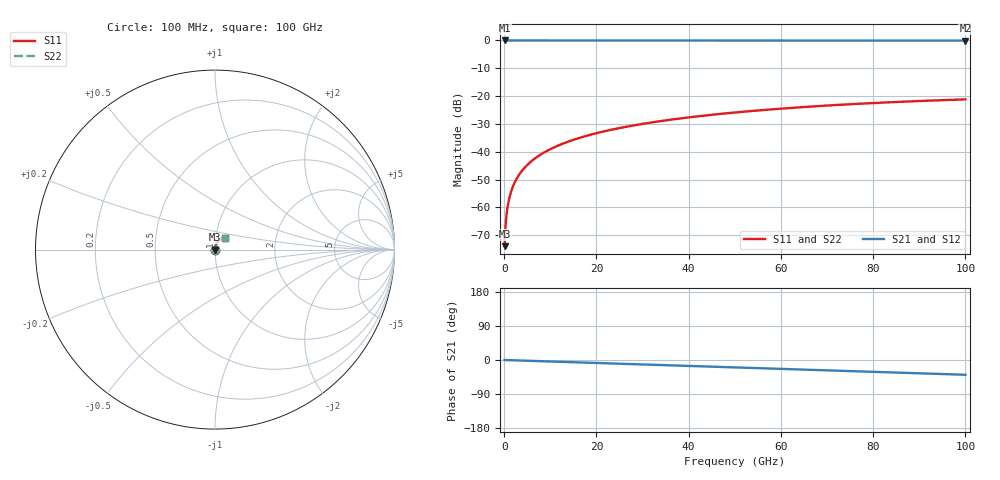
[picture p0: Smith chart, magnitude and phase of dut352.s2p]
! Touchstone file exported from HFSS 2026.1.0
!  File:  C:/ffzhzh/LocalFiles/Ansys_Project_Files/temp_train_TSV_352_1783510028_44152.aedt
!  Generated:  07:28:19 PM Jul  8, 2026
!  Design:  TSV
!  Project:  temp_train_TSV_352_1783510028_44152
! Variables:
!  h_bsmrdl = 2um
!  h_ox = 20um
!  h_rdl = 5um
!  h_sub = 76.03um
!  h_tmrdl = 5um
!  h_tsv = 76.03um
!  h_via = 3um
!  l_bsmrdl = 300um
!  l_sub = 418.7um
!  l_tmrdl = 200um
!  m_sub = 200um
!  pitch = 45.42um
!  r_tsv = 9.35um
!  s_tmrdl = 10um
!  w_bsmrdl = 18um
!  w_sub = 500um
!  w_tmrdl = 12um
!  x_tsv_center1 = 206um
!  x_tsv_center2 = 524um
!  x_tsv_center3 = 736um
!  x_tsv_center4 = 1054um
!  x_tsv_center5 = 1266um
!  x_tsv_center6 = 1584um
# GHz S MA R 50.000000
! Terminal data exported
! Port[1] = TSV1_1_T1
! Port[2] = TSV1_1_T2
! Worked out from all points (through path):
!   1000 points, 100 MHz to 100 GHz, reference 50 ohm
!   highest |S21| = 0.00 dB at 100 MHz (marker M1); lowest = -0.1 dB at 100 GHz (marker M2)
!   group delay of S21, straight-line fit = 1.08 ps
!   lowest |S11| = -74.0 dB at 100 MHz (marker M3), VSWR 1.00, Z = 50 + j0.0148 ohm
!   |S11| at or under -10 dB: start of sweep to end of sweep
!   |S22| runs from -74.0 to -21.2 dB; largest |S21 - S12| = 3.2e-15
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0.1  0.0002003 47.8  0.9999 -0.0  0.9999 -0.0  0.0002003 47.8
! Gamma 0 0 0 0
! Port Impedance 50 0 50 0
0.4  0.000595 71.9  0.9998 -0.2  0.9998 -0.2  0.000595 71.9
0.7  0.0009701 75.4  0.9998 -0.3  0.9998 -0.3  0.0009701 75.4
0.8  0.00109 76.1  0.9997 -0.3  0.9997 -0.3  0.00109 76.1
1.1  0.001442 77.7  0.9997 -0.4  0.9997 -0.4  0.001442 77.7
1.4  0.00179 78.7  0.9997 -0.6  0.9997 -0.6  0.00179 78.7
1.9  0.002361 79.8  0.9996 -0.8  0.9996 -0.8  0.002361 79.8
2.4  0.002924 80.4  0.9996 -1.0  0.9996 -1.0  0.002924 80.4
3.1  0.0037 81.0  0.9995 -1.2  0.9995 -1.2  0.0037 81.0
3.9  0.004576 81.4  0.9994 -1.5  0.9994 -1.5  0.004576 81.4
4.9  0.005659 81.7  0.9994 -1.9  0.9994 -1.9  0.005659 81.7
6.1  0.006951 81.8  0.9993 -2.4  0.9993 -2.4  0.006951 81.8
8.9  0.009941 81.6  0.9991 -3.5  0.9991 -3.5  0.009941 81.6
12.4  0.01363 80.8  0.9989 -4.9  0.9989 -4.9  0.01363 80.8
16.8  0.01821 79.7  0.9987 -6.6  0.9987 -6.6  0.01821 79.7
24.2  0.0258 77.4  0.9982 -9.5  0.9982 -9.5  0.0258 77.4
33.4  0.03499 74.2  0.9977 -13.1  0.9977 -13.1  0.03499 74.2
41.2  0.04252 71.4  0.9972 -16.1  0.9972 -16.1  0.04252 71.4
50.1  0.05075 68.2  0.9967 -19.6  0.9967 -19.6  0.05075 68.2
66.7  0.06494 62.0  0.9955 -26.0  0.9955 -26.0  0.06494 62.0
83.4  0.0773 55.7  0.9943 -32.5  0.9943 -32.5  0.0773 55.7
100  0.0872 49.4  0.9932 -39.0  0.9932 -39.0  0.0872 49.4
